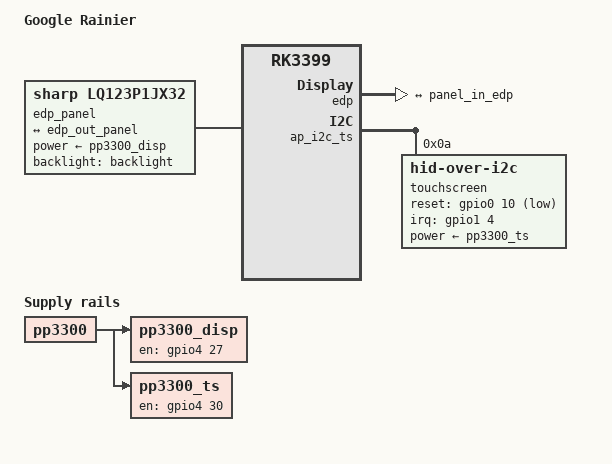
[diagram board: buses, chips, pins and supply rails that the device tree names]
/*
 * Google Gru-Rainier Rev0 board device tree source
 *
 * Copyright 2017 Google, Inc
 *
 * This file is dual-licensed: you can use it either under the terms
 * of the GPL or the X11 license, at your option. Note that this dual
 * licensing only applies to this file, and not this project as a
 * whole.
 *
 *  a) This file is free software; you can redistribute it and/or
 *     modify it under the terms of the GNU General Public License as
 *     published by the Free Software Foundation; either version 2 of the
 *     License, or (at your option) any later version.
 *
 *     This file is distributed in the hope that it will be useful,
 *     but WITHOUT ANY WARRANTY; without even the implied warranty of
 *     MERCHANTABILITY or FITNESS FOR A PARTICULAR PURPOSE.  See the
 *     GNU General Public License for more details.
 *
 *  Or, alternatively,
 *
 *  b) Permission is hereby granted, free of charge, to any person
 *     obtaining a copy of this software and associated documentation
 *     files (the "Software"), to deal in the Software without
 *     restriction, including without limitation the rights to use,
 *     copy, modify, merge, publish, distribute, sublicense, and/or
 *     sell copies of the Software, and to permit persons to whom the
 *     Software is furnished to do so, subject to the following
 *     conditions:
 *
 *     The above copyright notice and this permission notice shall be
 *     included in all copies or substantial portions of the Software.
 *
 *     THE SOFTWARE IS PROVIDED "AS IS", WITHOUT WARRANTY OF ANY KIND,
 *     EXPRESS OR IMPLIED, INCLUDING BUT NOT LIMITED TO THE WARRANTIES
 *     OF MERCHANTABILITY, FITNESS FOR A PARTICULAR PURPOSE AND
 *     NONINFRINGEMENT. IN NO EVENT SHALL THE AUTHORS OR COPYRIGHT
 *     HOLDERS BE LIABLE FOR ANY CLAIM, DAMAGES OR OTHER LIABILITY,
 *     WHETHER IN AN ACTION OF CONTRACT, TORT OR OTHERWISE, ARISING
 *     FROM, OUT OF OR IN CONNECTION WITH THE SOFTWARE OR THE USE OR
 *     OTHER DEALINGS IN THE SOFTWARE.
 */

/dts-v1/;

#include "rk3399-gru-scarlet.dtsi"

/ {
	model = "Google Rainier";
	compatible = "google,rainier-rev15", "google,rainier-rev14",
		     "google,rainier-rev13", "google,rainier-rev12",
		     "google,rainier-rev11", "google,rainier-rev10",
		     "google,rainier-rev9",  "google,rainier-rev8",
		     "google,rainier-rev7",  "google,rainier-rev6",
		     "google,rainier-rev5",  "google,rainier-rev4",
		     "google,rainier-rev3",  "google,rainier-rev2",
		     "google,rainier-rev1",  "google,rainier-rev0",
		     "google,rainier", "google,gru", "rockchip,rk3399";

	/* Power Tree */

	/* pp3300 children */

	pp3300_disp: pp3300-disp {
		compatible = "regulator-fixed";
		regulator-name = "pp3300_disp";
		pinctrl-names = "default";
		pinctrl-0 = <&pp3300_disp_en>;

		enable-active-high;
		gpio = <&gpio4 27 GPIO_ACTIVE_HIGH>;

		startup-delay-us = <2000>;
		vin-supply = <&pp3300>;
	};

	pp3300_ts: pp3300_ts {
		compatible = "regulator-fixed";
		regulator-name = "pp3300_ts";
		pinctrl-names = "default";
		pinctrl-0 = <&pp3300_ts_en>;

		/*
		 * Wait for regulators to ramp and touchscreen controller to
		 * initialize firmware.
		 */
		regulator-enable-ramp-delay = <100000>;

		enable-active-high;
		gpio = <&gpio4 30 GPIO_ACTIVE_HIGH>;
		vin-supply = <&pp3300>;
	};

	/* END REGULATORS */

	edp_panel: edp_panel {
		compatible = "sharp,lq123p1jx32", "sharp,lq123p1jx31",
			     "simple-panel";
		backlight = <&backlight>;
		power-supply = <&pp3300_disp>;

		ports {
			panel_in_edp: endpoint {
				remote-endpoint = <&edp_out_panel>;
			};
		};
	};
};

/* REGULATOR OVERRIDES (node deletions first) */

/* No MIPI, so remove related regulators and nodes. */
/delete-node/ &ppvarn_lcd;
/delete-node/ &ppvarn_lcd_en;
/delete-node/ &ppvarp_lcd;
/delete-node/ &ppvarp_lcd_en;
/delete-node/ &vopl_out_mipi;
/delete-node/ &vopb_out_mipi;
/delete-node/ &mipi_dsi;
/delete-node/ &vopl_out_mipi1;
/delete-node/ &vopb_out_mipi1;
/delete-node/ &mipi_dsi1;
/delete-node/ &digitizer;

/* Rainier uses different touch controller, which is defined below. */
/delete-node/ &touchscreen;

/* Define EDP related aliases. */
pp900_edp: &pp900_s0 {
};
pp1800_edp: &pp1800_s0 {
};

/* Add EDP configs. */
&backlight {
	power-supply = <&pp3300_disp>;
};

&edp {
	status = "okay";

	ports {
		edp_out: port@1 {
			reg = <1>;
			#address-cells = <1>;
			#size-cells = <0>;

			edp_out_panel: endpoint@0 {
				reg = <0>;
				remote-endpoint = <&panel_in_edp>;
			};
		};
	};
};

&ap_i2c_dig {
	status = "disabled";
};

&ap_i2c_ts {
	touchscreen: touchscreen@0a {
		compatible = "hid-over-i2c";
		reg = <0x0a>;
		hid-descr-addr = <0x01>;

		pinctrl-names = "default";
		pinctrl-0 = <&touch_int_l &touch_reset_l>;

		power-supply = <&pp3300_ts>;
		assert-reset-us = <40000>;
		deassert-reset-us = <30000>;

		interrupt-parent = <&gpio1>;
		interrupts = <4 IRQ_TYPE_LEVEL_LOW>;

		reset-gpios = <&gpio0 10 GPIO_ACTIVE_LOW>;
	};
};

&discrete_regulators {
	pp3300_disp_en: pp3300-disp-en {
		rockchip,pins = <RK_GPIO4 27 RK_FUNC_GPIO &pcfg_pull_down>;
	};

	pp3300_ts_en: pp3300-ts-en {
		rockchip,pins = <4 30 RK_FUNC_GPIO &pcfg_pull_none>;
	};
};
